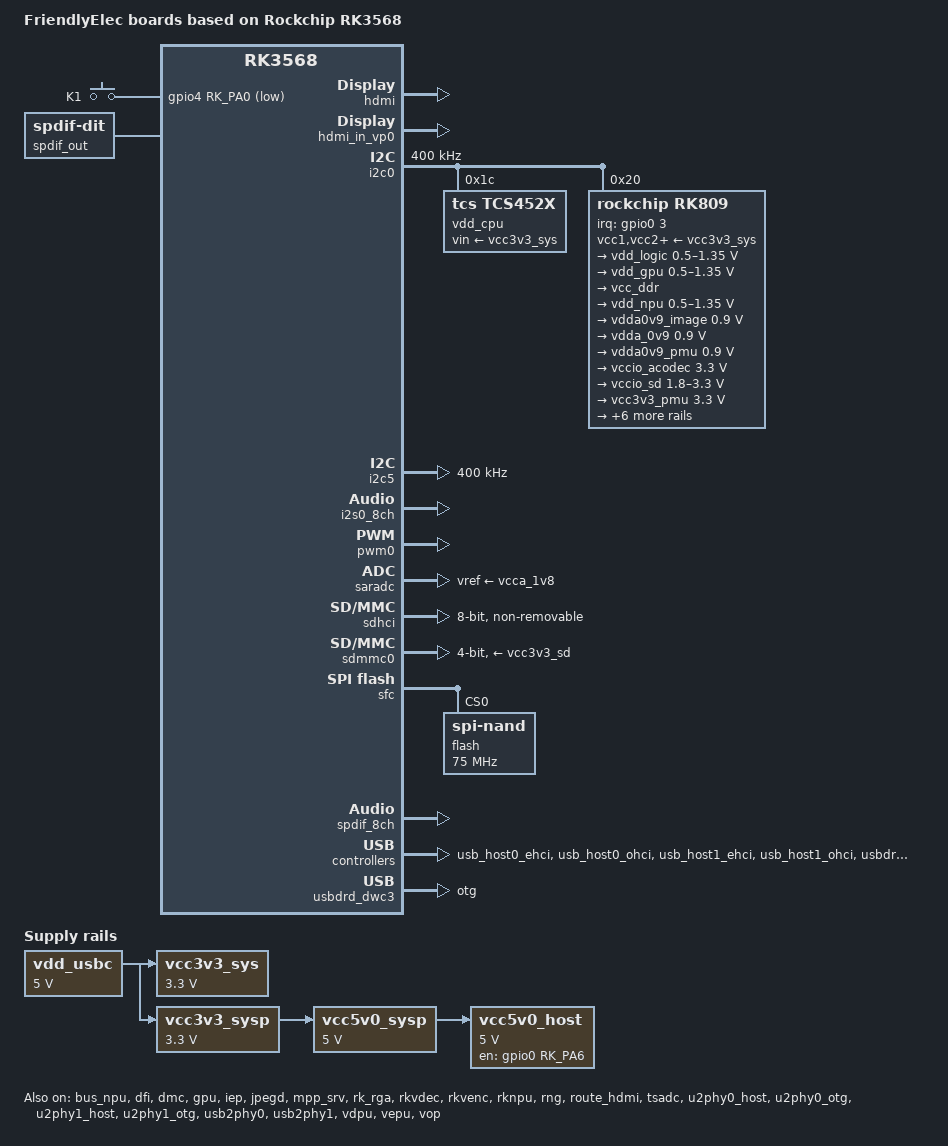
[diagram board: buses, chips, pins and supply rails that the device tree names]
// SPDX-License-Identifier: (GPL-2.0+ OR MIT)
/*
 * Copyright (c) 2021 FriendlyElec Computer Tech. Co., Ltd.
 * (http://www.friendlyarm.com)
 *
 * Copyright (c) 2020 Rockchip Electronics Co., Ltd.
 */

#include <dt-bindings/gpio/gpio.h>
#include <dt-bindings/pwm/pwm.h>
#include <dt-bindings/pinctrl/rockchip.h>
#include <dt-bindings/input/linux-event-codes.h>
#include <dt-bindings/display/drm_mipi_dsi.h>
#include <dt-bindings/sensor-dev.h>

/ {
	model = "FriendlyElec boards based on Rockchip RK3568";
	compatible = "friendlyelec,nanopi5",
		     "rockchip,rk3568";

	chosen: chosen {
		bootargs = "earlycon=uart8250,mmio32,0xfe660000 console=ttyFIQ0 root=PARTUUID=614e0000-0000 rw rootwait";
	};

	fiq-debugger {
		compatible = "rockchip,fiq-debugger";
		rockchip,serial-id = <2>;
		rockchip,wake-irq = <0>;
		/* If enable uart uses irq instead of fiq */
		rockchip,irq-mode-enable = <1>;
		rockchip,baudrate = <1500000>;  /* Only 115200 and 1500000 */
		interrupts = <GIC_SPI 252 IRQ_TYPE_LEVEL_LOW>;
		pinctrl-names = "default";
		pinctrl-0 = <&uart2m0_xfer>;
		status = "okay";
	};

	firmware {
		optee: optee {
			compatible = "linaro,optee-tz";
			method = "smc";
		};
	};

	debug: debug@fd904000 {
		compatible = "rockchip,debug";
		reg = <0x0 0xfd904000 0x0 0x1000>,
			<0x0 0xfd905000 0x0 0x1000>,
			<0x0 0xfd906000 0x0 0x1000>,
			<0x0 0xfd907000 0x0 0x1000>;
	};

	cspmu: cspmu@fd90c000 {
		compatible = "rockchip,cspmu";
		reg = <0x0 0xfd90c000 0x0 0x1000>,
			<0x0 0xfd90d000 0x0 0x1000>,
			<0x0 0xfd90e000 0x0 0x1000>,
			<0x0 0xfd90f000 0x0 0x1000>;
	};

	gpio_keys: gpio-keys {
		compatible = "gpio-keys";
		pinctrl-names = "default";
		pinctrl-0 = <&key1_pin>;

		button@1 {
			debounce-interval = <50>;
			gpios = <&gpio4 RK_PA0 GPIO_ACTIVE_LOW>;
			label = "K1";
			linux,code = <BTN_1>;
			wakeup-source;
		};
	};

	hdmi_sound: hdmi-sound {
		compatible = "simple-audio-card";
		simple-audio-card,format = "i2s";
		simple-audio-card,mclk-fs = <128>;
		simple-audio-card,name = "rockchip,hdmi";
		status = "disabled";

		simple-audio-card,cpu {
				sound-dai = <&i2s0_8ch>;
		};
		simple-audio-card,codec {
				sound-dai = <&hdmi>;
		};
	};

	mach: board {
		compatible = "friendlyelec,board";
		machine = "NANOPI5";
		hwrev = <255>;
		model = "NanoPi 5 Series";
		nvmem-cells = <&otp_id>, <&otp_cpu_version>;
		nvmem-cell-names = "id", "cpu-version";
	};

	pdmics: dummy-codec {
		status = "disabled";
		compatible = "rockchip,dummy-codec";
		#sound-dai-cells = <0>;
	};

	pdm_mic_array: pdm-mic-array {
		status = "disabled";
		compatible = "simple-audio-card";
		simple-audio-card,name = "rockchip,pdm-mic-array";
		simple-audio-card,cpu {
			sound-dai = <&pdm>;
		};
		simple-audio-card,codec {
			sound-dai = <&pdmics>;
		};
	};

	rk809_sound: rk809-sound {
		status = "okay";
		compatible = "simple-audio-card";
		simple-audio-card,format = "i2s";
		simple-audio-card,name = "rockchip,rk809-codec";
		simple-audio-card,mclk-fs = <256>;

		simple-audio-card,cpu {
			sound-dai = <&i2s1_8ch>;
		};
		simple-audio-card,codec {
			sound-dai = <&rk809_codec 0>;
		};
	};

	spdif-sound {
		status = "okay";
		compatible = "simple-audio-card";
		simple-audio-card,name = "ROCKCHIP,SPDIF";
		simple-audio-card,cpu {
				sound-dai = <&spdif_8ch>;
		};
		simple-audio-card,codec {
				sound-dai = <&spdif_out>;
		};
	};

	spdif_out: spdif-out {
			status = "okay";
			compatible = "linux,spdif-dit";
			#sound-dai-cells = <0>;
	};

	vad_sound: vad-sound {
		status = "disabled";
		compatible = "rockchip,multicodecs-card";
		rockchip,card-name = "rockchip,rk3568-vad";
		rockchip,cpu = <&i2s1_8ch>;
		rockchip,codec = <&rk809_codec>, <&vad>;
	};

	vdd_usbc: vdd-usbc {
		compatible = "regulator-fixed";
		regulator-name = "vdd_usbc";
		regulator-always-on;
		regulator-boot-on;
		regulator-min-microvolt = <5000000>;
		regulator-max-microvolt = <5000000>;
	};

	vcc3v3_sys: vcc3v3-sys {
		compatible = "regulator-fixed";
		regulator-name = "vcc3v3_sys";
		regulator-always-on;
		regulator-boot-on;
		regulator-min-microvolt = <3300000>;
		regulator-max-microvolt = <3300000>;
		vin-supply = <&vdd_usbc>;
	};

	vcc3v3_sysp: vcc3v3-sysp {
		compatible = "regulator-fixed";
		regulator-name = "vcc3v3_sysp";
		regulator-always-on;
		regulator-boot-on;
		regulator-min-microvolt = <3300000>;
		regulator-max-microvolt = <3300000>;
		vin-supply = <&vdd_usbc>;
	};

	vcc5v0_sysp: vcc5v0-sysp {
		compatible = "regulator-fixed";
		regulator-name = "vcc5v0_sysp";
		regulator-always-on;
		regulator-boot-on;
		regulator-min-microvolt = <5000000>;
		regulator-max-microvolt = <5000000>;
		vin-supply = <&vcc3v3_sysp>;
	};

	vcc5v0_host: vcc5v0-host-regulator {
		compatible = "regulator-fixed";
		regulator-name = "vcc5v0_host";
		regulator-boot-on;
		regulator-always-on;
		regulator-min-microvolt = <5000000>;
		regulator-max-microvolt = <5000000>;
		enable-active-high;
		gpio = <&gpio0 RK_PA6 GPIO_ACTIVE_HIGH>;
		vin-supply = <&vcc5v0_sysp>;
		pinctrl-names = "default";
		pinctrl-0 = <&vcc5v0_host_en>;
	};

	test-power {
		status = "okay";
	};
};

&bus_npu {
	bus-supply = <&vdd_logic>;
	pvtm-supply = <&vdd_cpu>;
	status = "okay";
};

&cpu0 {
	cpu-supply = <&vdd_cpu>;
};

&dfi {
	status = "okay";
};

&dmc {
	center-supply = <&vdd_logic>;
	status = "okay";
};

/* video_phy0/1 needs to be enabled when dsi0/1 is enabled */
&dsi0 {
	status = "disabled";
};

&dsi1 {
	status = "disabled";
};

&gpu {
	mali-supply = <&vdd_gpu>;
	status = "okay";
};

&hdmi {
	status = "okay";
	rockchip,phy-table =
		<92812500  0x8009 0x0000 0x0270>,
		<165000000 0x800b 0x0000 0x026d>,
		<185625000 0x800b 0x0000 0x01ed>,
		<297000000 0x800b 0x0000 0x01ad>,
		<594000000 0x8029 0x0000 0x0088>,
		<000000000 0x0000 0x0000 0x0000>;
};

&hdmi_in_vp0 {
	status = "okay";
};

&hdmi_in_vp1 {
	status = "disabled";
};

&hdmi_sound {
	status = "okay";
};

&i2c0 {
	status = "okay";
	i2c-scl-rising-time-ns = <160>;
	i2c-scl-falling-time-ns = <30>;
	clock-frequency = <400000>;

	vdd_cpu: tcs4525@1c {
		compatible = "tcs,tcs452x";
		reg = <0x1c>;
		vin-supply = <&vcc3v3_sys>;
		regulator-compatible = "fan53555-reg";
		regulator-name = "vdd_cpu";
		regulator-min-microvolt = <712500>;
		regulator-max-microvolt = <1390000>;
		regulator-init-microvolt = <900000>;
		regulator-ramp-delay = <2300>;
		fcs,suspend-voltage-selector = <1>;
		regulator-boot-on;
		regulator-always-on;
		regulator-state-mem {
			regulator-off-in-suspend;
		};
	};

	rk809: pmic@20 {
		compatible = "rockchip,rk809";
		reg = <0x20>;
		interrupt-parent = <&gpio0>;
		interrupts = <3 IRQ_TYPE_LEVEL_LOW>;

		pinctrl-names = "default", "pmic-sleep",
				"pmic-power-off", "pmic-reset";
		pinctrl-0 = <&pmic_int>;
		pinctrl-1 = <&soc_slppin_slp>, <&rk817_slppin_slp>;
		pinctrl-2 = <&soc_slppin_gpio>, <&rk817_slppin_pwrdn>;
		pinctrl-3 = <&soc_slppin_gpio>, <&rk817_slppin_rst>;

		rockchip,system-power-controller;
		wakeup-source;
		#clock-cells = <1>;
		clock-output-names = "rk808-clkout1", "rk808-clkout2";
		//fb-inner-reg-idxs = <2>;
		/* 1: rst regs (default in codes), 0: rst the pmic */
		pmic-reset-func = <0>;
		/* not save the PMIC_POWER_EN register in uboot */
		not-save-power-en = <1>;

		vcc1-supply = <&vcc3v3_sys>;
		vcc2-supply = <&vcc3v3_sys>;
		vcc3-supply = <&vcc3v3_sys>;
		vcc4-supply = <&vcc3v3_sys>;
		vcc5-supply = <&vcc3v3_sys>;
		vcc6-supply = <&vcc3v3_sys>;
		vcc7-supply = <&vcc3v3_sys>;
		vcc8-supply = <&vcc3v3_sys>;
		vcc9-supply = <&vcc3v3_sys>;

		pwrkey {
			status = "okay";
		};

		pinctrl_rk8xx: pinctrl_rk8xx {
			gpio-controller;
			#gpio-cells = <2>;

			rk817_slppin_null: rk817_slppin_null {
				pins = "gpio_slp";
				function = "pin_fun0";
			};

			rk817_slppin_slp: rk817_slppin_slp {
				pins = "gpio_slp";
				function = "pin_fun1";
			};

			rk817_slppin_pwrdn: rk817_slppin_pwrdn {
				pins = "gpio_slp";
				function = "pin_fun2";
			};

			rk817_slppin_rst: rk817_slppin_rst {
				pins = "gpio_slp";
				function = "pin_fun3";
			};
		};

		regulators {
			vdd_logic: DCDC_REG1 {
				regulator-always-on;
				regulator-boot-on;
				regulator-min-microvolt = <500000>;
				regulator-max-microvolt = <1350000>;
				regulator-init-microvolt = <900000>;
				regulator-ramp-delay = <6001>;
				regulator-initial-mode = <0x2>;
				regulator-name = "vdd_logic";
				regulator-state-mem {
					regulator-off-in-suspend;
				};
			};

			vdd_gpu: DCDC_REG2 {
				regulator-always-on;
				regulator-boot-on;
				regulator-min-microvolt = <500000>;
				regulator-max-microvolt = <1350000>;
				regulator-init-microvolt = <900000>;
				regulator-ramp-delay = <6001>;
				regulator-initial-mode = <0x2>;
				regulator-name = "vdd_gpu";
				regulator-state-mem {
					regulator-off-in-suspend;
				};
			};

			vcc_ddr: DCDC_REG3 {
				regulator-always-on;
				regulator-boot-on;
				regulator-initial-mode = <0x2>;
				regulator-name = "vcc_ddr";
				regulator-state-mem {
					regulator-on-in-suspend;
				};
			};

			vdd_npu: DCDC_REG4 {
				regulator-always-on;
				regulator-boot-on;
				regulator-min-microvolt = <500000>;
				regulator-max-microvolt = <1350000>;
				regulator-init-microvolt = <900000>;
				regulator-ramp-delay = <6001>;
				regulator-initial-mode = <0x2>;
				regulator-name = "vdd_npu";
				regulator-state-mem {
					regulator-off-in-suspend;
				};
			};

			vdda0v9_image: LDO_REG1 {
				regulator-min-microvolt = <900000>;
				regulator-max-microvolt = <900000>;
				regulator-name = "vdda0v9_image";
				regulator-state-mem {
					regulator-off-in-suspend;
				};
			};

			vdda_0v9: LDO_REG2 {
				regulator-always-on;
				regulator-boot-on;
				regulator-min-microvolt = <900000>;
				regulator-max-microvolt = <900000>;
				regulator-name = "vdda_0v9";
				regulator-state-mem {
					regulator-off-in-suspend;
				};
			};

			vdda0v9_pmu: LDO_REG3 {
				regulator-always-on;
				regulator-boot-on;
				regulator-min-microvolt = <900000>;
				regulator-max-microvolt = <900000>;
				regulator-name = "vdda0v9_pmu";
				regulator-state-mem {
					regulator-on-in-suspend;
					regulator-suspend-microvolt = <900000>;
				};
			};

			vccio_acodec: LDO_REG4 {
				regulator-min-microvolt = <3300000>;
				regulator-max-microvolt = <3300000>;
				regulator-name = "vccio_acodec";
				regulator-state-mem {
					regulator-off-in-suspend;
				};
			};

			vccio_sd: LDO_REG5 {
				regulator-always-on;
				regulator-boot-on;
				regulator-min-microvolt = <1800000>;
				regulator-max-microvolt = <3300000>;
				regulator-name = "vccio_sd";
				regulator-state-mem {
					regulator-off-in-suspend;
				};
			};

			vcc3v3_pmu: LDO_REG6 {
				regulator-always-on;
				regulator-boot-on;
				regulator-min-microvolt = <3300000>;
				regulator-max-microvolt = <3300000>;
				regulator-name = "vcc3v3_pmu";
				regulator-state-mem {
					regulator-on-in-suspend;
					regulator-suspend-microvolt = <3300000>;
				};
			};

			vcca_1v8: LDO_REG7 {
				regulator-always-on;
				regulator-boot-on;
				regulator-min-microvolt = <1800000>;
				regulator-max-microvolt = <1800000>;
				regulator-name = "vcca_1v8";
				regulator-state-mem {
					regulator-off-in-suspend;
				};
			};

			vcca1v8_pmu: LDO_REG8 {
				regulator-always-on;
				regulator-boot-on;
				regulator-min-microvolt = <1800000>;
				regulator-max-microvolt = <1800000>;
				regulator-name = "vcca1v8_pmu";
				regulator-state-mem {
					regulator-on-in-suspend;
					regulator-suspend-microvolt = <1800000>;
				};
			};

			vcca1v8_image: LDO_REG9 {
				regulator-min-microvolt = <1800000>;
				regulator-max-microvolt = <1800000>;
				regulator-name = "vcca1v8_image";
				regulator-state-mem {
					regulator-off-in-suspend;
				};
			};

			vcc_1v8: DCDC_REG5 {
				regulator-always-on;
				regulator-boot-on;
				regulator-min-microvolt = <1800000>;
				regulator-max-microvolt = <1800000>;
				regulator-name = "vcc_1v8";
				regulator-state-mem {
					regulator-off-in-suspend;
				};
			};

			vcc_3v3: SWITCH_REG1 {
				regulator-always-on;
				regulator-boot-on;
				regulator-name = "vcc_3v3";
				regulator-state-mem {
					regulator-off-in-suspend;
				};
			};

			vcc3v3_sd: SWITCH_REG2 {
				regulator-always-on;
				regulator-boot-on;
				regulator-name = "vcc3v3_sd";
				regulator-state-mem {
					regulator-off-in-suspend;
				};
			};
		};

		rk809_codec: codec {
			#sound-dai-cells = <1>;
			compatible = "rockchip,rk809-codec", "rockchip,rk817-codec";
			clocks = <&cru I2S1_MCLKOUT>;
			clock-names = "mclk";
			assigned-clocks = <&cru I2S1_MCLKOUT>, <&cru I2S1_MCLK_TX_IOE>;
			assigned-clock-rates = <12288000>;
			assigned-clock-parents = <&cru I2S1_MCLKOUT_TX>, <&cru I2S1_MCLKOUT_TX>;
			pinctrl-names = "default";
			pinctrl-0 = <&i2s1m0_mclk>;
			hp-volume = <20>;
			spk-volume = <3>;
			mic-in-differential;
			status = "okay";
		};
	};
};

&i2c5 {
	status = "okay";
	i2c-scl-rising-time-ns = <160>;
	i2c-scl-falling-time-ns = <30>;
	clock-frequency = <400000>;
};

&i2s0_8ch {
	status = "okay";
};

&i2s1_8ch {
	status = "disabled";
	rockchip,clk-trcm = <1>;
	pinctrl-names = "default";
	pinctrl-0 = <&i2s1m0_sclktx
		     &i2s1m0_lrcktx
		     &i2s1m0_sdi0
		     &i2s1m0_sdo0>;
};

&iep {
	status = "okay";
};

&iep_mmu {
	status = "okay";
};

&jpegd {
	status = "okay";
};

&jpegd_mmu {
	status = "okay";
};

&mpp_srv {
	status = "okay";
};

&nandc0 {
	#address-cells = <1>;
	#size-cells = <0>;
	status = "disabled";

	nand@0 {
		reg = <0>;
		nand-bus-width = <8>;
		nand-ecc-mode = "hw";
		nand-ecc-strength = <16>;
		nand-ecc-step-size = <1024>;
	};
};

&pinctrl {
	gpio-key {
		key1_pin: key1-pin {
			rockchip,pins = <4 RK_PA0 RK_FUNC_GPIO &pcfg_pull_up>;
		};
	};

	pmic {
		pmic_int: pmic_int {
			rockchip,pins = <0 RK_PA3 RK_FUNC_GPIO &pcfg_pull_up>;
		};

		soc_slppin_gpio: soc_slppin_gpio {
			rockchip,pins = <0 RK_PA2 RK_FUNC_GPIO &pcfg_output_low_pull_down>;
		};

		soc_slppin_slp: soc_slppin_slp {
			rockchip,pins = <0 RK_PA2 1 &pcfg_pull_up>;
		};

		soc_slppin_rst: soc_slppin_rst {
			rockchip,pins = <0 RK_PA2 2 &pcfg_pull_none>;
		};
	};

	usb {
		vcc5v0_host_en: vcc5v0-host-en {
			rockchip,pins = <0 RK_PA6 RK_FUNC_GPIO &pcfg_pull_none>;
		};
	};
};

/*
 * There are 10 independent IO domains in RK3566/RK3568, including PMUIO[0:2] and VCCIO[1:7].
 * 1/ PMUIO0 and PMUIO1 are fixed-level power domains which cannot be configured;
 * 2/ PMUIO2 and VCCIO1,VCCIO[3:7] domains require that their hardware power supply voltages
 *    must be consistent with the software configuration correspondingly
 *	a/ When the hardware IO level is connected to 1.8V, the software voltage configuration
 *	   should also be configured to 1.8V accordingly;
 *	b/ When the hardware IO level is connected to 3.3V, the software voltage configuration
 *	   should also be configured to 3.3V accordingly;
 * 3/ VCCIO2 voltage control selection (0xFDC20140)
 *	BIT[0]: 0x0: from GPIO_0A7 (default)
 *	BIT[0]: 0x1: from GRF
 *    Default is determined by Pin FLASH_VOL_SEL/GPIO0_A7:
 *	L:VCCIO2 must supply 3.3V
 *	H:VCCIO2 must supply 1.8V
 */
&pmu_io_domains {
	status = "okay";
	pmuio2-supply = <&vcc3v3_pmu>;
	vccio1-supply = <&vccio_acodec>;
	vccio3-supply = <&vccio_sd>;
	vccio4-supply = <&vcc_1v8>;
	vccio5-supply = <&vcc_3v3>;
	vccio6-supply = <&vcc_1v8>;
	vccio7-supply = <&vcc_3v3>;
};

&pwm0 {
	status = "okay";
};

&pwm4 {
	status = "disabled";
};

&pwm5 {
	status = "disabled";
};

&pwm7 {
	status = "disabled";

	compatible = "rockchip,remotectl-pwm";
	remote_pwm_id = <3>;
	handle_cpu_id = <1>;
	remote_support_psci = <0>;
	pinctrl-names = "default";
	pinctrl-0 = <&pwm7_pins>;
};

&reserved_memory {
	linux,cma {
		compatible = "shared-dma-pool";
		inactive;
		reusable;
		reg = <0x0 0x10000000 0x0 0x00800000>;
		linux,cma-default;
	};

	ramoops: ramoops@110000 {
		compatible = "ramoops";
		reg = <0x0 0x110000 0x0 0xf0000>;
		record-size = <0x20000>;
		console-size = <0x80000>;
		ftrace-size = <0x00000>;
		pmsg-size = <0x50000>;
	};
};

&rk_rga {
	status = "okay";
};

&rkvdec {
	status = "okay";
};

&rkvdec_mmu {
	status = "okay";
};

&rkvenc {
	venc-supply = <&vdd_logic>;
	status = "okay";
};

&rkvenc_mmu {
	status = "okay";
};

&rknpu {
	rknpu-supply = <&vdd_npu>;
	status = "okay";
};

&rknpu_mmu {
	status = "okay";
};

&rng {
	status = "okay";
};

&rockchip_suspend {
	status = "okay";
};

&route_hdmi {
	status = "okay";
	connect = <&vp0_out_hdmi>;
};

&saradc {
	status = "okay";
	vref-supply = <&vcca_1v8>;
};

&sdhci {
	bus-width = <8>;
	supports-emmc;
	non-removable;
	max-frequency = <200000000>;
	status = "okay";
};

&sdmmc0 {
	max-frequency = <150000000>;
	supports-sd;
	bus-width = <4>;
	cap-mmc-highspeed;
	cap-sd-highspeed;
	disable-wp;
	sd-uhs-sdr104;
	vmmc-supply = <&vcc3v3_sd>;
	vqmmc-supply = <&vccio_sd>;
	pinctrl-names = "default";
	pinctrl-0 = <&sdmmc0_bus4 &sdmmc0_clk &sdmmc0_cmd &sdmmc0_det>;
	status = "okay";
};

&sfc {
	status = "okay";

	flash@0 {
		compatible = "spi-nand";
		reg = <0>;
		spi-max-frequency = <75000000>;
		spi-rx-bus-width = <4>;
		spi-tx-bus-width = <1>;
	};
};

&spdif_8ch {
	status = "okay";
};

&tsadc {
	status = "okay";
};

&u2phy0_host {
	phy-supply = <&vcc5v0_host>;
	status = "okay";
};

&u2phy0_otg {
	status = "okay";
};

&u2phy1_host {
	status = "okay";
};

&u2phy1_otg {
	status = "okay";
};

&usb2phy0 {
	status = "okay";
};

&usb2phy1 {
	status = "okay";
};

&usb_host0_ehci {
	status = "okay";
};

&usb_host0_ohci {
	status = "okay";
};

&usb_host1_ehci {
	status = "okay";
};

&usb_host1_ohci {
	status = "okay";
};

&usbdrd_dwc3 {
	dr_mode = "otg";
	extcon = <&usb2phy0>;
	status = "okay";
};

&usbdrd30 {
	status = "okay";
};

&usbhost_dwc3 {
	status = "okay";
};

&usbhost30 {
	status = "okay";
};

&vad {
	rockchip,audio-src = <&i2s1_8ch>;
	rockchip,buffer-time-ms = <128>;
	rockchip,det-channel = <0>;
	rockchip,mode = <0>;
};

&vdpu {
	status = "okay";
};

&vdpu_mmu {
	status = "okay";
};

&vepu {
	status = "okay";
};

&vepu_mmu {
	status = "okay";
};

&video_phy0 {
	status = "disabled";
};

&video_phy1 {
	status = "disabled";
};

&vop {
	status = "okay";
	assigned-clocks = <&cru DCLK_VOP0>, <&cru DCLK_VOP1>;
	assigned-clock-parents = <&pmucru PLL_HPLL>, <&cru PLL_VPLL>;
	support-multi-area;
};

&vop_mmu {
	status = "okay";
};
